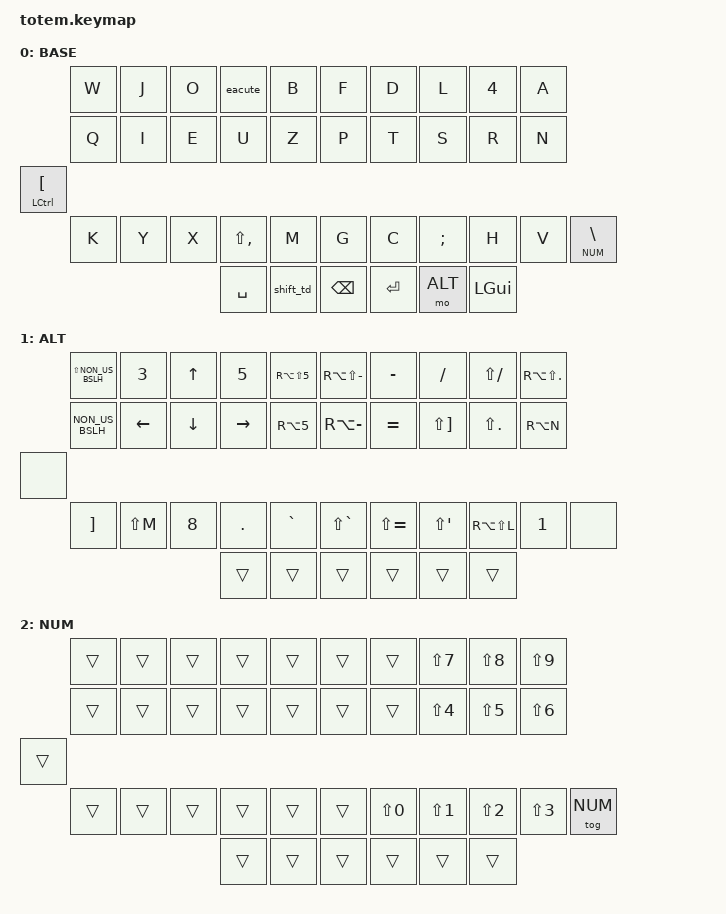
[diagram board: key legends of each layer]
/*
 * TOTEM 38 touches — layout Nabs optimot
 *
 * Important :
 * - macOS est en AZERTY français.
 * - ZMK utilise des keycodes HID/QWERTY.
 * - Les commentaires indiquent donc le caractère voulu.
 */

#include <behaviors.dtsi>
#include <dt-bindings/zmk/keys.h>
#include <dt-bindings/zmk/bt.h>
#include <dt-bindings/zmk/outputs.h>

#define BASE 0
#define ALT  1
#define NUM  2

/ {
    macros {
        /* É : CapsLock temporaire + é + CapsLock */
        eacute_cap: eacute_cap {
            compatible = "zmk,behavior-macro";
            #binding-cells = <0>;
            wait-ms = <0>;
            tap-ms = <0>;
            bindings = <&kp CAPSLOCK &kp N2 &kp CAPSLOCK>;
        };
    };

    behaviors {
        /* tap = ^ ; hold = Ctrl */
        ctrl_tap: ctrl_tap {
            compatible = "zmk,behavior-hold-tap";
            #binding-cells = <2>;
            flavor = "tap-preferred";
            tapping-term-ms = <200>;
            bindings = <&kp>, <&kp>;
        };

        /* tap = ` ; hold = toggle NUM */
        num_tog_tap: num_tog_tap {
            compatible = "zmk,behavior-hold-tap";
            #binding-cells = <2>;
            flavor = "hold-preferred";
            tapping-term-ms = <200>;
            bindings = <&tog>, <&kp>;
        };

        /* é ; Shift+é = É */
        eacute: eacute {
            compatible = "zmk,behavior-mod-morph";
            #binding-cells = <0>;
            bindings = <&kp N2>, <&eacute_cap>;
            mods = <(MOD_LSFT|MOD_RSFT)>;
        };

        shift_td: shift_td {
            compatible = "zmk,behavior-tap-dance";
            #binding-cells = <0>;
            tapping-term-ms = <200>;
            bindings = <&kp LSHFT>, <&kp CAPSLOCK>;
        };
    };

    combos {
        compatible = "zmk,combos";

        /*
         * Positions physiques :
         *
         *        0   1   2   3   4        5   6   7   8   9
         *       10  11  12  13  14       15  16  17  18  19
         *   20  21  22  23  24  25       26  27  28  29  30  31
         *               32  33  34       35  36  37
         */

        combo_esc {
            timeout-ms = <50>;
            key-positions = <0 1>;      // Z + J
            bindings = <&kp ESC>;
        };

        combo_semicolon {
            timeout-ms = <50>;
            key-positions = <24 25>;    // . + ,
            bindings = <&kp COMMA>;     // ; sur AZERTY macOS
        };

        combo_tab {
            timeout-ms = <50>;
            key-positions = <26 27>;    // G + C
            bindings = <&kp TAB>;
        };
    };

    keymap {
        compatible = "zmk,keymap";

        /*
         * BASE
         *
         *        Z   J   O   É   B        F   D   L   '   Q
         *        A   I   E   U   W        P   T   S   R   N
         *   ^    K   Y   X   .   ,        G   C   M   H   V   `
         *          Space Shift Delete   Enter Alt Cmd
         */
        base_layer {
            label = "BASE";
            bindings = <
                //      Z        J        O        É        B           F        D        L        '        Q
                        &kp W    &kp J    &kp O    &eacute  &kp B       &kp F    &kp D    &kp L    &kp N4   &kp A

                //      A        I        E        U        W           P        T        S        R        N
                        &kp Q    &kp I    &kp E    &kp U    &kp Z       &kp P    &kp T    &kp S    &kp R    &kp N

                // ^    K        Y        X        .        ,           G        C        M        H        V        `
                &ctrl_tap LCTRL LBKT
                        &kp K    &kp Y    &kp X    &kp LS(COMMA) &kp M  &kp G    &kp C    &kp SEMICOLON &kp H &kp V &num_tog_tap NUM BSLH

                //                              Space    Shift    Delete    Enter    Alt      Cmd
                                                &kp SPACE &shift_td &kp BACKSPACE &kp RET &mo ALT &kp LGUI
            >;
        };

        /*
         * ALT / SYMBOLES
         *
         *        #   "   ↑   (   [        ]   )   =   +   \
         *        @   ←   ↓   →   {        }   -   *   /   ~
         *   ·    $   ?   !   :   <        >   _   %   |   &   ·
         *                   ·   ·   ·      ·   ·   ·
         */
        alt_layer {
            label = "ALT";
            bindings = <
                //      #                  "        ↑        (        [                  ]                  )          =        +             backslash
                        &kp LS(NON_US_BSLH) &kp N3 &kp UP   &kp N5   &kp RA(LS(N5))     &kp RA(LS(MINUS))  &kp MINUS &kp FSLH &kp LS(FSLH) &kp RA(LS(DOT))

                //      @                  ←        ↓        →        {                  }                  -        *            /            ~
                        &kp NON_US_BSLH    &kp LEFT &kp DOWN &kp RIGHT &kp RA(N5)        &kp RA(MINUS)      &kp EQUAL &kp LS(RBKT) &kp LS(DOT) &kp RA(N)

                // ·    $                  ?        !        :        <                  >                  _             %           |             &       ·
                &none   &kp RBKT           &kp LS(M) &kp N8  &kp DOT  &kp GRAVE          &kp LS(GRAVE)      &kp LS(EQUAL) &kp LS(SQT) &kp RA(LS(L)) &kp N1 &none

                //                              ·        ·        ·     ·        ·        ·
                                                &trans   &trans   &trans &trans   &trans   &trans
            >;
        };

        /*
         * NUM
         *
         *        ·   ·   ·   ·   ·        ·   ·   7   8   9
         *        ·   ·   ·   ·   ·        ·   ·   4   5   6
         *   ·    ·   ·   ·   ·   ·        ·   0   1   2   3   sortie
         *                   ·   ·   ·      ·   ·   ·
         */
        num_layer {
            label = "NUM";
            bindings = <
                //      ·      ·      ·      ·      ·          ·      ·      7          8          9
                        &trans &trans &trans &trans &trans     &trans &trans &kp LS(N7) &kp LS(N8) &kp LS(N9)

                //      ·      ·      ·      ·      ·          ·      ·      4          5          6
                        &trans &trans &trans &trans &trans     &trans &trans &kp LS(N4) &kp LS(N5) &kp LS(N6)

                // ·    ·      ·      ·      ·      ·          ·      0          1          2          3          sortie
                &trans  &trans &trans &trans &trans &trans     &trans &kp LS(N0) &kp LS(N1) &kp LS(N2) &kp LS(N3) &tog NUM

                //                              ·      ·      ·      ·      ·      ·
                                                &trans &trans &trans &trans &trans &trans
            >;
        };
    };
};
